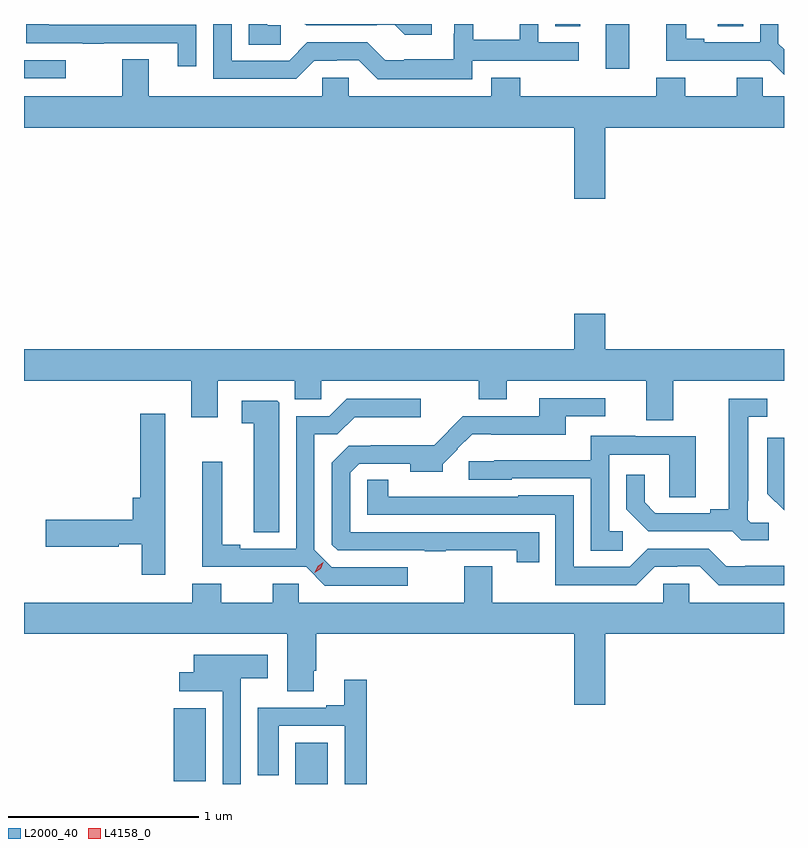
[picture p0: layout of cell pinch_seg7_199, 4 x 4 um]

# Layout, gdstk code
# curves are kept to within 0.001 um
import gdstk
lib = gdstk.Library(unit=1e-6, precision=1e-09)
def R(c, l, rs):  # rectangles x0, y0, x1, y1
    for r in rs: c.add(gdstk.rectangle(r[:2], r[2:], *l))
def P(c, l, *ps):  # polygons
    for p in ps: c.add(gdstk.Polygon(p, *l))
L2000_40 = (2000, 40)
L4158_0 = (4158, 0)

pinch_seg7_199 = lib.new_cell('pinch_seg7_199')
R(pinch_seg7_199, L2000_40, [(655.049,1006.485,655.219,1006.702), (654.41,1006.499,654.577,1006.885), (653.621,1010.199,653.842,1010.295), (656.684,1010.25,656.806,1010.485), (656.417,1010.473,656.548,1010.485), (657.272,1010.473,657.406,1010.485)])
P(pinch_seg7_199, L2000_40, [(655.98,1010.292),(656.542,1010.292),(656.542,1010.388),(656.328,1010.388),(656.328,1010.485),(656.23,1010.485),(656.23,1010.401),(655.985,1010.401),(655.985,1010.485),(655.886,1010.485),(655.886,1010.433),(655.884,1010.433),(655.884,1010.299),(655.621,1010.299),(655.621,1010.295),(655.521,1010.295),(655.428,1010.388),(655.113,1010.388),(655.017,1010.292),(654.714,1010.292),(654.714,1010.485),(654.618,1010.485),(654.618,1010.196),(655.053,1010.196),(655.149,1010.292),(655.268,1010.292),(655.268,1010.295),(655.383,1010.295),(655.483,1010.195),(655.98,1010.195)],
  [(654.527,1010.48),(654.425,1010.48),(654.425,1010.481),(653.75,1010.481),(653.75,1010.485),(653.634,1010.485),(653.634,1010.385),(653.929,1010.385),(653.929,1010.38),(654.041,1010.38),(654.041,1010.385),(654.431,1010.385),(654.431,1010.262),(654.527,1010.262)],
  [(654.973,1010.478),(654.9,1010.478),(654.9,1010.485),(654.804,1010.485),(654.804,1010.377),(654.973,1010.377)],
  [(655.768,1010.485),(655.099,1010.485),(655.106,1010.478),(655.478,1010.478),(655.478,1010.481),(655.572,1010.481),(655.624,1010.429),(655.768,1010.429)],
  [(657.621,1010.352),(657.591,1010.382),(657.591,1010.485),(657.495,1010.485),(657.495,1010.388),(657.202,1010.388),(657.202,1010.408),(657.106,1010.408),(657.106,1010.485),(657.002,1010.485),(657.002,1010.292),(657.548,1010.292),(657.621,1010.219)],
  [(656.68,1009.94),(657.621,1009.94),(657.621,1010.104),(657.51,1010.104),(657.51,1010.202),(657.371,1010.202),(657.371,1010.104),(657.1,1010.104),(657.1,1010.203),(656.948,1010.203),(656.948,1010.104),(656.234,1010.104),(656.234,1010.203),(656.081,1010.203),(656.081,1010.104),(655.329,1010.104),(655.329,1010.202),(655.191,1010.202),(655.191,1010.104),(654.277,1010.104),(654.277,1010.299),(654.137,1010.299),(654.137,1010.104),(653.621,1010.104),(653.621,1009.94),(656.516,1009.94),(656.516,1009.566),(656.68,1009.566)],
  [(656.516,1008.961),(656.516,1008.772),(653.621,1008.772),(653.621,1008.608),(654.5,1008.608),(654.5,1008.414),(654.64,1008.414),(654.64,1008.608),(655.046,1008.608),(655.046,1008.51),(655.185,1008.51),(655.185,1008.608),(656.014,1008.608),(656.014,1008.509),(656.161,1008.509),(656.161,1008.608),(656.897,1008.608),(656.897,1008.4),(657.037,1008.4),(657.037,1008.608),(657.621,1008.608),(657.621,1008.772),(656.68,1008.772),(656.68,1008.961)],
  [(656.333,1007.811),(655.338,1007.811),(655.338,1008.123),(655.386,1008.171),(655.655,1008.171),(655.655,1008.128),(655.826,1008.128),(655.826,1008.168),(655.905,1008.246),(655.902,1008.249),(655.979,1008.326),(656.08,1008.326),(656.08,1008.323),(656.473,1008.323),(656.473,1008.42),(656.68,1008.42),(656.68,1008.516),(656.333,1008.516),(656.333,1008.42),(655.929,1008.42),(655.853,1008.343),(655.855,1008.341),(655.781,1008.268),(655.447,1008.268),(655.447,1008.266),(655.331,1008.266),(655.242,1008.177),(655.242,1007.745),(655.272,1007.715),(655.729,1007.715),(655.729,1007.71),(655.841,1007.71),(655.841,1007.715),(656.215,1007.715),(656.215,1007.652),(656.333,1007.652)],
  [(657.542,1007.859),(657.447,1007.859),(657.429,1007.877),(657.429,1007.977),(657.433,1007.977),(657.433,1008.417),(657.532,1008.417),(657.532,1008.513),(657.329,1008.513),(657.329,1007.93),(657.233,1007.93),(657.233,1007.91),(656.944,1007.91),(656.887,1007.967),(656.887,1008.112),(656.79,1008.112),(656.79,1007.93),(656.906,1007.814),(657.348,1007.814),(657.396,1007.767),(657.542,1007.767)],
  [(655.642,1007.625),(655.242,1007.625),(655.149,1007.718),(655.149,1008.325),(655.27,1008.325),(655.361,1008.416),(655.708,1008.416),(655.708,1008.513),(655.32,1008.513),(655.227,1008.42),(655.053,1008.42),(655.053,1007.724),(654.76,1007.724),(654.76,1007.744),(654.664,1007.744),(654.664,1008.181),(654.56,1008.181),(654.56,1007.628),(655.106,1007.628),(655.205,1007.529),(655.642,1007.529)],
  [(654.964,1008.491),(654.954,1008.501),(654.768,1008.501),(654.768,1008.385),(654.83,1008.385),(654.83,1007.809),(654.964,1007.809)],
  [(654.364,1008.433),(654.233,1008.433),(654.233,1007.992),(654.194,1007.992),(654.194,1007.876),(653.736,1007.876),(653.736,1007.734),(654.12,1007.734),(654.12,1007.746),(654.242,1007.746),(654.242,1007.586),(654.364,1007.586)],
  [(656.773,1007.814),(656.7,1007.814),(656.7,1008.219),(657.018,1008.219),(657.018,1007.995),(657.157,1007.995),(657.157,1008.315),(656.839,1008.315),(656.839,1008.319),(656.603,1008.319),(656.603,1008.19),(656.097,1008.19),(656.097,1008.183),(655.962,1008.183),(655.962,1008.087),(656.187,1008.087),(656.187,1008.093),(656.604,1008.093),(656.604,1007.713),(656.773,1007.713)],
  [(657.621,1008.307),(657.534,1008.307),(657.534,1008.012),(657.621,1007.925)],
  [(657.621,1007.635),(657.418,1007.635),(657.418,1007.631),(657.318,1007.631),(657.225,1007.724),(656.904,1007.724),(656.808,1007.628),(656.514,1007.628),(656.514,1008.004),(656.223,1008.004),(656.223,1007.997),(655.537,1007.998),(655.537,1008.086),(655.428,1008.086),(655.428,1007.901),(656.418,1007.901),(656.418,1007.532),(656.844,1007.532),(656.94,1007.628),(657.06,1007.628),(657.06,1007.631),(657.177,1007.631),(657.277,1007.531),(657.621,1007.531)],
  [(656.68,1007.276),(657.621,1007.276),(657.621,1007.44),(657.123,1007.44),(657.123,1007.538),(656.985,1007.538),(656.985,1007.44),(656.085,1007.44),(656.085,1007.63),(655.937,1007.63),(655.937,1007.44),(655.068,1007.44),(655.068,1007.538),(654.929,1007.538),(654.929,1007.44),(654.658,1007.44),(654.658,1007.539),(654.506,1007.539),(654.506,1007.44),(653.621,1007.44),(653.621,1007.276),(655.007,1007.276),(655.007,1006.972),(655.147,1006.972),(655.147,1007.08),(655.16,1007.08),(655.16,1007.276),(656.516,1007.276),(656.516,1006.902),(656.68,1006.902)],
  [(654.762,1007.042),(654.904,1007.042),(654.904,1007.164),(654.515,1007.164),(654.515,1007.072),(654.438,1007.072),(654.438,1006.974),(654.666,1006.974),(654.666,1006.485),(654.762,1006.485)],
  [(655.424,1007.035),(655.307,1007.035),(655.307,1006.9),(655.211,1006.9),(655.211,1006.887),(654.851,1006.887),(654.851,1006.53),(654.961,1006.53),(654.961,1006.791),(655.308,1006.791),(655.308,1006.485),(655.424,1006.485)])
P(pinch_seg7_199, L4158_0, [(655.151,1007.598),(655.151,1007.598),(655.166,1007.632),(655.197,1007.653),(655.197,1007.653),(655.197,1007.653),(655.182,1007.619),(655.151,1007.598)])

lib.write_gds('pinch_seg7_199.gds')
